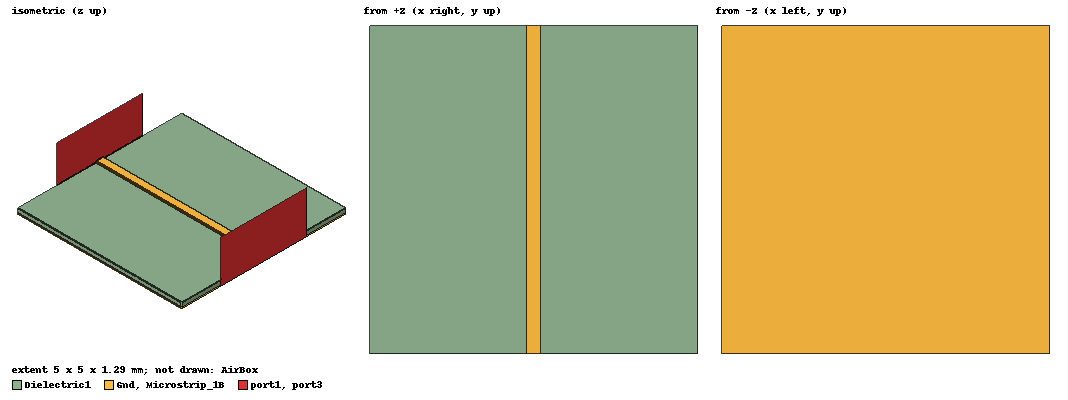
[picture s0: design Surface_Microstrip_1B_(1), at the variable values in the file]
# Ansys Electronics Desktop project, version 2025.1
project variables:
  $Er1 = 4.2
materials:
  vacuum: permittivity=1
  Substrate 1 Dielectric: permittivity=$Er1 permeability=1.00001 dielectric_loss_tangent=0.085
  copper: permeability=0.999991 conductivity=58000000
  air: permittivity=1.0006 permeability=1.0000004

design Surface_Microstrip_1B_(1) (HFSS, HFSS Hybrid Terminal Network, model units mm)
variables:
  H1 = 125um
  W1 = 220um
  W2 = 210um
  T1 = 40um
  subX = 5mm
  subY = 5mm
  subH = 0.125mm
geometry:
  Dielectric1 [Substrate 1 Dielectric] = box(corner=(0mm, 0mm, 0mm), size=(subX, subY, H1))
  Gnd [copper, solve inside] = box(corner=(0mm, 0mm, 0mm), size=(subX, subY, -T1))
  Microstrip_1B [copper, solve inside] = polyline(y=0mm, xz: ((subX/2)-(W1)/2, H1) ((subX/2)+(W1)/2, H1) ((subX/2)+(W2)/2, H1+T1) ((subX/2)-(W2)/2, H1+T1) ((subX/2)-(W1)/2, H1), closed, covered)
  Microstrip_1B.thicken(-subY)
  AirBox [air] = box(corner=(0, 0, -T1), size=(subX, subY, 10*subH+T1))
  port1 = rectangle(corner=((subX)/2, 0, 10*subH), z_size=-10*subH-T1, x_size=-6*W1)
  port2 = rectangle(corner=((subX)/2, 0, 10*subH), z_size=-10*subH-T1, x_size=6*W1)
  port1.unite(port2)
  port3 = rectangle(corner=((subX)/2, subY, 10*subH), z_size=-10*subH-T1, x_size=-6*W1)
  port4 = rectangle(corner=((subX)/2, subY, 10*subH), z_size=-10*subH-T1, x_size=6*W1)
  port3.unite(port4)
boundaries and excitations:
  Rad1: Radiation Objects=AirBox
  Microstrip_1B_T1: Terminal port=1 Faces=Microstrip_1B.face(at (2.5, 0, 0.145)) TerminalResistance=50ohm
  Microstrip_1B_T2: Terminal port=2 Faces=Microstrip_1B.face(at (2.5, 5, 0.145)) TerminalResistance=50ohm
  1: Wave Port Faces=port1.face(at (2.5, 0, 0.605)) WavePortType=Terminal NumModes=1
  2: Wave Port Faces=port3.face(at (2.5, 5, 0.605)) WavePortType=Terminal NumModes=1
  reference conductors: Gnd
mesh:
  Length1: LengthBased Objects=Microstrip_1B MaxLength=0.1mm
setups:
  Setup1: HfssDriven Frequency=4GHz MaxDeltaS=0.01 MaximumPasses=30 MinimumPasses=1 MinimumConvergedPasses=1 PercentRefinement=30 BasisOrder=1 PortAccuracy=2 DrivenSolverType="Direct Solver"
    sweep Sweep: 0Hz to 1Hz, 1 points; 1Hz to 100MHz, log, 20 per decade; 100MHz to 1GHz step 10MHz; 1GHz to 16GHz step 10MHz; Type=Interpolating SaveFields SaveRadFields InterpTolerance=0.5 InterpMaxSolns=250 MinSolvedFreq=0.01GHz PassivityErrorTolerance=0.0001
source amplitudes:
  1:1: 1V 0deg
  2:1: 0V 0deg
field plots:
  Vector_E1: E Field over port1.face(at (2.5, 0, 0.605)) on Setup1 : LastAdaptive at Freq=4GHz Phase=0deg
  Vector_H1: H Field over port1.face(at (2.5, 0, 0.605)) on Setup1 : LastAdaptive at Freq=4GHz Phase=0deg
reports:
  Terminal S Parameter Plot 1: dB(St(Microstrip_1B_T1,Microstrip_1B_T1)), dB(St(Microstrip_1B_T2,Microstrip_1B_T1)) vs Freq on Setup1 : Sweep
  Terminal TDR Impedance Plot 2: TDRZt(Microstrip_1B_T1) vs Time on Setup1 : Sweep
